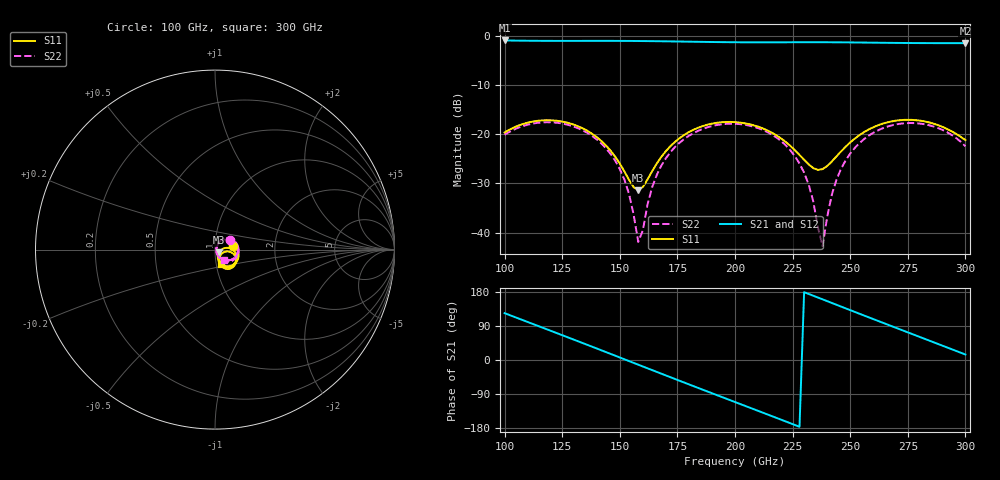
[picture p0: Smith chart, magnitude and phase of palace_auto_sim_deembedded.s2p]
! Created with skrf 1.11.0 (http://scikit-rf.org).
# GHz S DB R 50.0
!freq dBS11 angS11 dBS21 angS21 dBS12 angS12 dBS22 angS22
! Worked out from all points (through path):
!   101 points, 100 GHz to 300 GHz, reference 50 ohm
!   highest |S21| = -0.92 dB at 100 GHz (marker M1); lowest = -1.5 dB at 300 GHz (marker M2)
!   group delay of S21, straight-line fit = 6.52 ps
!   lowest |S11| = -31.4 dB at 158 GHz (marker M3), VSWR 1.06, Z = 52.3 - j1.47 ohm
!   |S11| at or under -10 dB: start of sweep to end of sweep
!   |S22| runs from -42.8 to -17.6 dB; largest |S21 - S12| = 1.5e-13
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100  -19.64 12.3  -0.92 123.6  -0.92 123.6  -20.10 31.7
116  -17.19 -19.7  -1.00 86.4  -1.00 86.4  -17.60 0.2
134  -18.82 -55.4  -1.00 44.4  -1.00 44.4  -19.24 -36.7
144  -22.29 -70.4  -1.00 20.9  -1.00 20.9  -22.85 -56.1
150  -25.98 -71.8  -1.01 6.7  -1.01 6.7  -27.08 -65.2
154  -29.28 -61.4  -1.02 -2.8  -1.02 -2.8  -32.15 -66.0
158  -31.38 -31.4  -1.03 -12.3  -1.03 -12.3  -41.91 -23.8
160  -30.72 -14.1  -1.04 -17.1  -1.04 -17.1  -39.59 38.1
164  -27.55 5.0  -1.06 -26.6  -1.06 -26.6  -30.84 59.7
168  -24.62 9.1  -1.08 -36.0  -1.08 -36.0  -26.41 57.2
184  -18.68 -10.1  -1.19 -73.7  -1.19 -73.7  -19.30 28.3
200  -17.54 -37.8  -1.28 -110.9  -1.28 -110.9  -17.88 -4.1
222  -21.56 -67.4  -1.29 -162.1  -1.29 -162.1  -22.24 -48.9
230  -25.20 -63.0  -1.28 179.0  -1.28 179.0  -27.83 -62.1
234  -26.90 -50.0  -1.28 169.6  -1.28 169.6  -33.72 -61.2
238  -27.10 -30.5  -1.28 160.1  -1.28 160.1  -42.78 14.7
242  -25.56 -15.4  -1.29 150.6  -1.29 150.6  -32.34 63.7
248  -22.55 -8.1  -1.31 136.3  -1.31 136.3  -25.34 59.5
256  -19.58 -13.1  -1.35 117.4  -1.35 117.4  -21.00 44.3
268  -17.38 -30.1  -1.41 89.3  -1.41 89.3  -18.20 18.8
282  -17.36 -51.9  -1.45 56.6  -1.45 56.6  -17.95 -11.6
300  -21.18 -68.5  -1.47 14.5  -1.47 14.5  -22.44 -50.0
